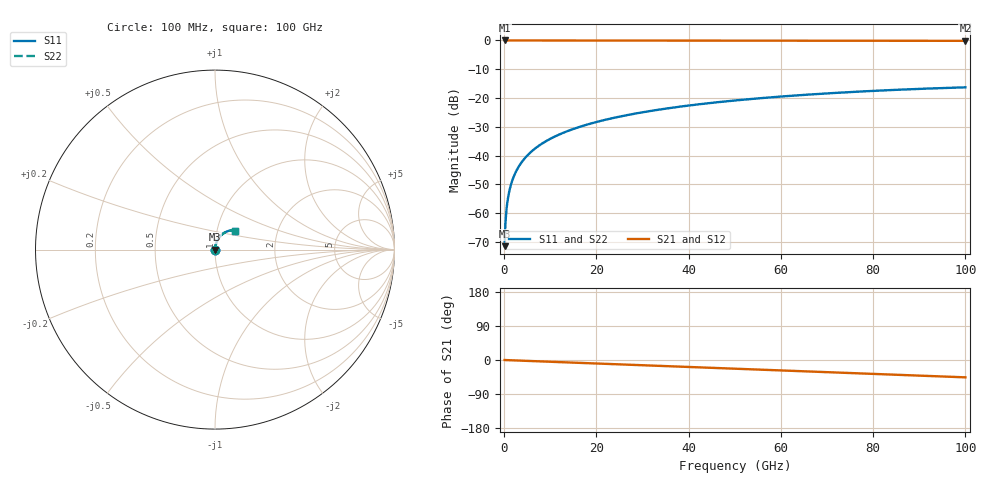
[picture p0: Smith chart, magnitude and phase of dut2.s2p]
! Touchstone file exported from HFSS 2026.1.0
!  File:  C:/ffzhzh/LocalFiles/Ansys_Project_Files/temp_train_TSV_2_1783504072_9504.aedt
!  Generated:  05:49:22 PM Jul  8, 2026
!  Design:  TSV
!  Project:  temp_train_TSV_2_1783504072_9504
! Variables:
!  h_bsmrdl = 2um
!  h_ox = 20um
!  h_rdl = 5um
!  h_sub = 87.47um
!  h_tmrdl = 5um
!  h_tsv = 87.47um
!  h_via = 3um
!  l_bsmrdl = 300um
!  l_sub = 420.5um
!  l_tmrdl = 200um
!  m_sub = 200um
!  pitch = 55.39um
!  r_tsv = 10.25um
!  s_tmrdl = 10um
!  w_bsmrdl = 18um
!  w_sub = 500um
!  w_tmrdl = 12um
!  x_tsv_center1 = 206um
!  x_tsv_center2 = 524um
!  x_tsv_center3 = 736um
!  x_tsv_center4 = 1054um
!  x_tsv_center5 = 1266um
!  x_tsv_center6 = 1584um
# GHz S MA R 50.000000
! Terminal data exported
! Port[1] = TSV1_1_T1
! Port[2] = TSV1_1_T2
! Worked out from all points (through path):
!   1000 points, 100 MHz to 100 GHz, reference 50 ohm
!   highest |S21| = 0.00 dB at 100 MHz (marker M1); lowest = -0.1 dB at 100 GHz (marker M2)
!   group delay of S21, straight-line fit = 1.27 ps
!   lowest |S11| = -71.4 dB at 100 MHz (marker M3), VSWR 1.00, Z = 50 + j0.0236 ohm
!   |S11| at or under -10 dB: start of sweep to end of sweep
!   |S22| runs from -71.4 to -16.3 dB; largest |S21 - S12| = 4.4e-15
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0.1  0.0002689 61.5  0.9999 -0.0  0.9999 -0.0  0.0002689 61.5
! Gamma 0 0 0 0
! Port Impedance 50 0 50 0
0.3  0.0007147 77.0  0.9998 -0.1  0.9998 -0.1  0.0007147 77.0
0.7  0.001571 80.8  0.9998 -0.3  0.9998 -0.3  0.001571 80.8
0.8  0.001776 81.2  0.9997 -0.4  0.9997 -0.4  0.001776 81.2
1  0.002182 81.8  0.9997 -0.5  0.9997 -0.5  0.002182 81.8
1.3  0.002784 82.5  0.9997 -0.6  0.9997 -0.6  0.002784 82.5
1.7  0.003582 83.1  0.9996 -0.8  0.9996 -0.8  0.003582 83.1
2.3  0.004771 83.6  0.9995 -1.1  0.9995 -1.1  0.004771 83.6
3  0.006147 83.9  0.9995 -1.4  0.9995 -1.4  0.006147 83.9
3.8  0.007707 84.0  0.9994 -1.8  0.9994 -1.8  0.007707 84.0
4.8  0.009645 83.9  0.9993 -2.2  0.9993 -2.2  0.009645 83.9
6  0.01196 83.8  0.9992 -2.8  0.9992 -2.8  0.01196 83.8
8.8  0.01733 83.0  0.999 -4.1  0.999 -4.1  0.01733 83.0
12.4  0.02418 81.8  0.9987 -5.8  0.9987 -5.8  0.02418 81.8
16.8  0.03245 80.1  0.9983 -7.8  0.9983 -7.8  0.03245 80.1
24.2  0.04615 77.0  0.9975 -11.2  0.9975 -11.2  0.04615 77.0
33.4  0.06271 73.1  0.9963 -15.4  0.9963 -15.4  0.06271 73.0
41.2  0.07622 69.6  0.9952 -19.0  0.9952 -19.0  0.07622 69.6
50.1  0.09093 65.7  0.9938 -23.1  0.9938 -23.1  0.09093 65.7
66.7  0.1159 58.3  0.9909 -30.6  0.9909 -30.6  0.1159 58.3
83.4  0.1372 50.8  0.9878 -38.2  0.9878 -38.2  0.1372 50.8
100  0.1536 43.5  0.985 -45.8  0.985 -45.8  0.1536 43.4
